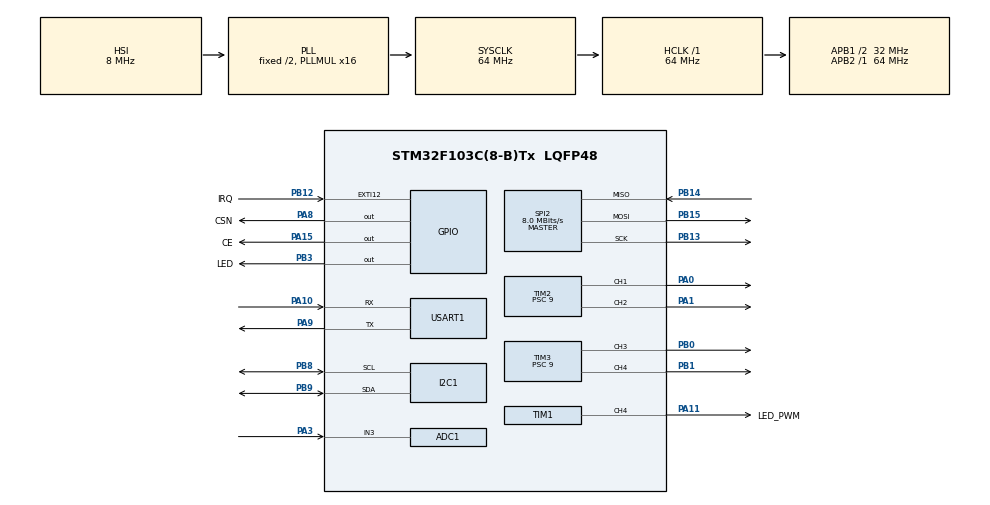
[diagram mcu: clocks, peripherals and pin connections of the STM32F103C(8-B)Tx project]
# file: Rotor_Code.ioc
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ADC1.Channel-0\#ChannelRegularConversion=ADC_CHANNEL_3
ADC1.NbrOfConversionFlag=1
ADC1.Rank-0\#ChannelRegularConversion=1
ADC1.SamplingTime-0\#ChannelRegularConversion=ADC_SAMPLETIME_1CYCLE_5
ADC1.master=1
Dma.Request0=TIM1_CH4/TRIG/COM
Dma.Request1=USART1_RX
Dma.TIM1_CH4/TRIG/COM.0.Direction=DMA_MEMORY_TO_PERIPH
Dma.TIM1_CH4/TRIG/COM.0.Instance=DMA1_Channel4
Dma.TIM1_CH4/TRIG/COM.0.MemDataAlignment=DMA_MDATAALIGN_HALFWORD
Dma.TIM1_CH4/TRIG/COM.0.MemInc=DMA_MINC_ENABLE
Dma.TIM1_CH4/TRIG/COM.0.Mode=DMA_NORMAL
Dma.TIM1_CH4/TRIG/COM.0.PeriphDataAlignment=DMA_PDATAALIGN_HALFWORD
Dma.TIM1_CH4/TRIG/COM.0.PeriphInc=DMA_PINC_DISABLE
Dma.TIM1_CH4/TRIG/COM.0.Priority=DMA_PRIORITY_LOW
Dma.USART1_RX.1.Direction=DMA_PERIPH_TO_MEMORY
Dma.USART1_RX.1.Instance=DMA1_Channel5
Dma.USART1_RX.1.MemDataAlignment=DMA_MDATAALIGN_BYTE
Dma.USART1_RX.1.MemInc=DMA_MINC_ENABLE
Dma.USART1_RX.1.Mode=DMA_NORMAL
Dma.USART1_RX.1.PeriphDataAlignment=DMA_PDATAALIGN_BYTE
Dma.USART1_RX.1.PeriphInc=DMA_PINC_DISABLE
Dma.USART1_RX.1.Priority=DMA_PRIORITY_MEDIUM
Mcu.Family=STM32F1
Mcu.Name=STM32F103C(8-B)Tx
Mcu.Package=LQFP48
NVIC.DMA1_Channel4_IRQn=true\:0\:0\:false\:false\:true\:false\:true
NVIC.DMA1_Channel5_IRQn=true\:0\:0\:false\:false\:true\:false\:true
NVIC.EXTI15_10_IRQn=true\:0\:0\:false\:false\:true\:true\:true
NVIC.PriorityGroup=NVIC_PRIORITYGROUP_4
NVIC.USART1_IRQn=true\:2\:0\:true\:false\:true\:true\:true
PA0-WKUP.Signal=S_TIM2_CH1_ETR
PA1.Signal=S_TIM2_CH2
PA10.Mode=Asynchronous
PA10.Signal=USART1_RX
PA11.GPIO_Label=LED_PWM
PA11.Signal=S_TIM1_CH4
PA13.Mode=Serial_Wire
PA13.Signal=SYS_JTMS-SWDIO
PA14.Mode=Serial_Wire
PA14.Signal=SYS_JTCK-SWCLK
PA15.GPIO_Label=CE
PA15.Signal=GPIO_Output
PA3.Signal=ADCx_IN3
PA8.GPIO_Label=CSN
PA8.Signal=GPIO_Output
PA9.Mode=Asynchronous
PA9.Signal=USART1_TX
PB0.Signal=S_TIM3_CH3
PB1.Signal=S_TIM3_CH4
PB12.GPIO_Label=IRQ
PB12.Signal=GPXTI12
PB13.Mode=Full_Duplex_Master
PB13.Signal=SPI2_SCK
PB14.Mode=Full_Duplex_Master
PB14.Signal=SPI2_MISO
PB15.Mode=Full_Duplex_Master
PB15.Signal=SPI2_MOSI
PB3.GPIO_Label=LED
PB3.Signal=GPIO_Output
PB8.Mode=I2C
PB8.Signal=I2C1_SCL
PB9.Mode=I2C
PB9.Signal=I2C1_SDA
ProjectManager.HeapSize=0x200
ProjectManager.StackSize=0x400
ProjectManager.TargetToolchain=EWARM V8
RCC.ADCPresc=RCC_ADCPCLK2_DIV6
RCC.AHBFreq_Value=64000000
RCC.APB1CLKDivider=RCC_HCLK_DIV2
RCC.APB1Freq_Value=32000000
RCC.APB1TimFreq_Value=64000000
RCC.APB2Freq_Value=64000000
RCC.APB2TimFreq_Value=64000000
RCC.HCLKFreq_Value=64000000
RCC.PLLMUL=RCC_PLL_MUL16
RCC.SYSCLKFreq_VALUE=64000000
RCC.SYSCLKSource=RCC_SYSCLKSOURCE_PLLCLK
RCC.USBFreq_Value=64000000
SH.ADCx_IN3.0=ADC1_IN3,IN3
SH.S_TIM1_CH4.0=TIM1_CH4,PWM Generation4 CH4
SH.S_TIM2_CH1_ETR.0=TIM2_CH1,PWM Generation1 CH1
SH.S_TIM2_CH2.0=TIM2_CH2,PWM Generation2 CH2
SH.S_TIM3_CH3.0=TIM3_CH3,PWM Generation3 CH3
SH.S_TIM3_CH4.0=TIM3_CH4,PWM Generation4 CH4
SPI2.BaudRatePrescaler=SPI_BAUDRATEPRESCALER_4
SPI2.CalculateBaudRate=8.0 MBits/s
SPI2.Direction=SPI_DIRECTION_2LINES
SPI2.Mode=SPI_MODE_MASTER
SPI2.VirtualType=VM_MASTER
TIM1.Channel-PWM\ Generation4\ CH4=TIM_CHANNEL_4
TIM2.Channel-PWM\ Generation1\ CH1=TIM_CHANNEL_1
TIM2.Channel-PWM\ Generation2\ CH2=TIM_CHANNEL_2
TIM2.Period=15999
TIM2.Prescaler=9
TIM3.Channel-PWM\ Generation3\ CH3=TIM_CHANNEL_3
TIM3.Channel-PWM\ Generation4\ CH4=TIM_CHANNEL_4
TIM3.Period=15999
TIM3.Prescaler=9
USART1.VirtualMode=VM_ASYNC
board=custom

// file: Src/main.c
/* USER CODE BEGIN Header */
/**
  ******************************************************************************
  * @file           : main.c
  * @brief          : Main program body
  ******************************************************************************
  * @attention
  *
  * <h2><center>&copy; Copyright (c) 2019 STMicroelectronics.
  * All rights reserved.</center></h2>
  *
  * This software component is licensed by ST under BSD 3-Clause license,
  * the "License"; You may not use this file except in compliance with the
  * License. You may obtain a copy of the License at:
  *                        opensource.org/licenses/BSD-3-Clause
  *
  ******************************************************************************
  */
/* USER CODE END Header */

#include "main.h"
#include "adc.h"
#include "dma.h"
#include "i2c.h"
#include "spi.h"
#include "tim.h"
#include "usart.h"
#include "gpio.h"

/* USER CODE BEGIN Includes */
#include "uart_ext.h"
#include "i2c_ext.h"
#include "icm20600.h"
#include "easy_angle.h"
#include "control.h"
#include "nrf24l01.h"

uint8_t Init_OK=0;
/* USER CODE END Includes */

void SystemClock_Config(void);

int main(void)
{

  /* MCU Configuration--------------------------------------------------------*/

  /* Reset of all peripherals, Initializes the Flash interface and the Systick. */
  HAL_Init();

  /* Configure the system clock */
  SystemClock_Config();

  /* Initialize all configured peripherals */
  MX_GPIO_Init();
  MX_DMA_Init();
  MX_ADC1_Init();
  MX_I2C1_Init();
  MX_SPI2_Init();
  MX_TIM1_Init();
  MX_TIM2_Init();
  MX_TIM3_Init();
  MX_USART1_UART_Init();
  /* USER CODE BEGIN 2 */
  I2C_EXT_Init(&hi2c1,GPIOB,GPIO_PIN_8,GPIOB,GPIO_PIN_9,(void *)MX_I2C1_Init);
  MPU9250_Init(&MPU9250);

  Servors_Init();
  ESC_Init();

  HAL_TIM_PWM_Start(&htim2,TIM_CHANNEL_1);
  HAL_TIM_PWM_Start(&htim2,TIM_CHANNEL_2);

  HAL_TIM_PWM_Start(&htim3,TIM_CHANNEL_3);
  HAL_TIM_PWM_Start(&htim3,TIM_CHANNEL_4);

  NRF_Init(&hspi2,1,CSN_GPIO_Port,CSN_Pin,CE_GPIO_Port,CE_Pin);
  uint8_t Rx_Addr[3][5]={
    {0x10,0x10,0x10,0x10,0x11},
    {0,0,0,0,0},
    {0,0,0,0,0}
  };
  NRF_Set_Rx_Addr(Rx_Addr,sizeof(Rx_Addr));

  HAL_Delay(5000);
  debug_uart_init(&huart1,BLOCK,DMA);
  Set_Servor(L_Servor,0);
  Set_Servor(R_Servor,0);

  //NRF_Receive_IT();
  uprintf("hello,world!\r\n");

  Init_OK=1;
  /* USER CODE END 2 */

  /* Infinite loop */
  while (1)
  {

    if(buffer_rx_OK){
      UART_Command_Analize_And_Call();
    }

    NRF_Receive();
    Control_Loop();
  }
}

void SystemClock_Config(void)
{
  RCC_OscInitTypeDef RCC_OscInitStruct = {0};
  RCC_ClkInitTypeDef RCC_ClkInitStruct = {0};
  RCC_PeriphCLKInitTypeDef PeriphClkInit = {0};

  /** Initializes the CPU, AHB and APB busses clocks
  */
  RCC_OscInitStruct.OscillatorType = RCC_OSCILLATORTYPE_HSI;
  RCC_OscInitStruct.HSIState = RCC_HSI_ON;
  RCC_OscInitStruct.HSICalibrationValue = RCC_HSICALIBRATION_DEFAULT;
  RCC_OscInitStruct.PLL.PLLState = RCC_PLL_ON;
  RCC_OscInitStruct.PLL.PLLSource = RCC_PLLSOURCE_HSI_DIV2;
  RCC_OscInitStruct.PLL.PLLMUL = RCC_PLL_MUL16;
  if (HAL_RCC_OscConfig(&RCC_OscInitStruct) != HAL_OK)
  {
    Error_Handler();
  }
  /** Initializes the CPU, AHB and APB busses clocks
  */
  RCC_ClkInitStruct.ClockType = RCC_CLOCKTYPE_HCLK|RCC_CLOCKTYPE_SYSCLK
                              |RCC_CLOCKTYPE_PCLK1|RCC_CLOCKTYPE_PCLK2;
  RCC_ClkInitStruct.SYSCLKSource = RCC_SYSCLKSOURCE_PLLCLK;
  RCC_ClkInitStruct.AHBCLKDivider = RCC_SYSCLK_DIV1;
  RCC_ClkInitStruct.APB1CLKDivider = RCC_HCLK_DIV2;
  RCC_ClkInitStruct.APB2CLKDivider = RCC_HCLK_DIV1;

  if (HAL_RCC_ClockConfig(&RCC_ClkInitStruct, FLASH_LATENCY_2) != HAL_OK)
  {
    Error_Handler();
  }
  PeriphClkInit.PeriphClockSelection = RCC_PERIPHCLK_ADC;
  PeriphClkInit.AdcClockSelection = RCC_ADCPCLK2_DIV6;
  if (HAL_RCCEx_PeriphCLKConfig(&PeriphClkInit) != HAL_OK)
  {
    Error_Handler();
  }
}

void Error_Handler(void)
{
}

/************************ (C) COPYRIGHT STMicroelectronics *****END OF FILE****/
